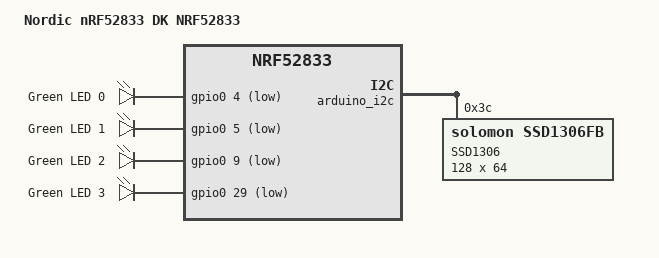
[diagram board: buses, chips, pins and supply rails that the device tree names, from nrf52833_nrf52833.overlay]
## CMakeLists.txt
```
cmake_minimum_required(VERSION 3.20.0)
find_package(Zephyr REQUIRED HINTS $ENV{ZEPHYR_BASE})

project(OLED_DISPLAY)

target_sources(app PRIVATE src/main.c)
```

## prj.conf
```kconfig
# Enable GPIO support
CONFIG_GPIO=y

# Memory and Stack Configuration
CONFIG_HEAP_MEM_POOL_SIZE=16384
CONFIG_MAIN_STACK_SIZE=4096

# Debugging and Assertions
CONFIG_DEBUG_OPTIMIZATIONS=y
CONFIG_ASSERT=y

# Enable I2C support
CONFIG_I2C=y

# Display Configuration
CONFIG_DISPLAY=y
CONFIG_DISPLAY_LOG_LEVEL_DBG=y

# Enable Logging
CONFIG_LOG=y

# SSD1306 OLED Display Driver
CONFIG_SSD1306=y
# CONFIG_SSD1306_SH1106_COMPATIBLE=n
CONFIG_SSD1306_DEFAULT_CONTRAST=128

# Console Configuration
CONFIG_CONSOLE=y
# Character Framebuffer
CONFIG_CHARACTER_FRAMEBUFFER=y
CONFIG_CFB_LOG_LEVEL_DBG=y
#CONFIG_SSD1306_SH1106_CAMPATIBLE=y  #ONLY ENABLE FOR 128 X 64 DISPLAY
```

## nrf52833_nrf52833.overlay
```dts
&arduino_i2c {
	status = "okay";
	compatible = "nordic,nrf-twi";

	ssd1306_ssd1306_128x64_I2C: ssd1306@3c {
		compatible = "solomon,ssd1306fb";
		reg = <0x3c>;
		label = "SSD1306";
		width = <128>;
		height = <64>;
		segment-offset = <0>;
		page-offset = <0>;
		display-offset = <0>;
		multiplex-ratio = <63>;
		segment-remap;
		com-invdir;
		prechargep = <0x22>;
	};
};

/* for node */

/ {
	model = "Nordic nRF52833 DK NRF52833";
    compatible = "nordic,nrf52833-dk-nrf52833";

	chosen {
		zephyr,console = &uart0;
		zephyr,shell-uart = &uart0;
		zephyr,uart-mcumgr = &uart0;
		zephyr,bt-mon-uart = &uart0;
		zephyr,bt-c2h-uart = &uart0;
		zephyr,sram = &sram0;
		zephyr,flash = &flash0;
		zephyr,code-partition = &slot0_partition;
	};

	leds {
		compatible = "gpio-leds";
		led0: led_0 {
			gpios = <&gpio0 4 GPIO_ACTIVE_LOW>;
			label = "Green LED 0";
		};
		led1: led_1 {
			gpios = <&gpio0 5 GPIO_ACTIVE_LOW>;
			label = "Green LED 1";
		};
		led2: led_2 {
			gpios = <&gpio0 9 GPIO_ACTIVE_LOW>;
			label = "Green LED 2";
		};
		led3: led_3 {
			gpios = <&gpio0 29 GPIO_ACTIVE_LOW>;
			label = "Green LED 3";
		};
	};
};
&pinctrl {
	uart0_default: uart0_default {
		group1 {
			psels = <NRF_PSEL(UART_TX, 0, 29)>, //6   for nrf52dk5832 / 5840
				<NRF_PSEL(UART_RX, 0, 28)>;   //8	  for nrf52dk5832
				
		};
	};

	uart0_sleep: uart0_sleep {
		group1 {
			psels = <NRF_PSEL(UART_TX, 0, 29)>,    //6
				<NRF_PSEL(UART_RX, 0, 28)>;        //8
				
			low-power-enable;
		};
	};
	i2c0_default: i2c0_default {
		group1 {
			psels = <NRF_PSEL(TWIM_SDA, 0, 2)>,  
				<NRF_PSEL(TWIM_SCL, 0, 3)>;      
		};
	};

	i2c0_sleep: i2c0_sleep {
		group1 {
			psels = <NRF_PSEL(TWIM_SDA, 0, 2)>,   
				<NRF_PSEL(TWIM_SCL, 0, 3)>;        
			low-power-enable;
		};
	};
};
```

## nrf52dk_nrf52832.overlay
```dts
&arduino_i2c {
	status = "okay";
	compatible = "nordic,nrf-twi";

	ssd1306_ssd1306_128x64_I2C: ssd1306@3c {
		compatible = "solomon,ssd1306fb";
		reg = <0x3c>;
		label = "SSD1306";
		width = <128>;
		height = <64>;
		segment-offset = <0>;
		page-offset = <0>;
		display-offset = <0>;
		multiplex-ratio = <63>;
		segment-remap;
		com-invdir;
		prechargep = <0x22>;
	};
};

/* For Node Configuration only*/
// &pinctrl {
// 	uart0_default: uart0_default {
// 		group1 {
// 			psels = <NRF_PSEL(UART_TX, 0, 24)>, //6   for nrf52dk5832 / 5840
// 				<NRF_PSEL(UART_RX, 0, 23)>,   //8	  for nrf52dk5832
// 				<NRF_PSEL(UART_RTS, 0, 5)>,
// 				<NRF_PSEL(UART_CTS, 0, 7)>;
// 		};
// 	};

// 	uart0_sleep: uart0_sleep {
// 		group1 {
// 			psels = <NRF_PSEL(UART_TX, 0, 24)>,    //6
// 				<NRF_PSEL(UART_RX, 0, 23)>,        //8
// 				<NRF_PSEL(UART_RTS, 0, 5)>,
// 				<NRF_PSEL(UART_CTS, 0, 7)>;
// 			low-power-enable;
// 		};
// 	};
// 	i2c0_default: i2c0_default {
// 		group1 {
// 			psels = <NRF_PSEL(TWIM_SDA, 0, 26)>,  
// 				<NRF_PSEL(TWIM_SCL, 0, 25)>;      
// 		};
// 	};

// 	i2c0_sleep: i2c0_sleep {
// 		group1 {
// 			psels = <NRF_PSEL(TWIM_SDA, 0, 26)>,   
// 				<NRF_PSEL(TWIM_SCL, 0, 25)>;        
// 			low-power-enable;
// 		};
// 	};

// };
```

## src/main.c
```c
/* Hello World */

#include <zephyr/kernel.h>
#include <zephyr/device.h>
#include <zephyr/drivers/display.h>
#include <zephyr/display/cfb.h>
#include <stdio.h>

/* Global variable for the text to be displayed */
const char *displayText = "AWaDH";

void main(void)
{
    const struct device *dev = device_get_binding("SSD1306");

    if (!dev)
    {
        printk("OLED Display: Device not found\n");
        return;
    }

    if (display_set_pixel_format(dev, PIXEL_FORMAT_MONO10) != 0 || cfb_framebuffer_init(dev) != 0)
    {
        printk("OLED Display: Initialization failed\n");
        return;
    }

    cfb_framebuffer_clear(dev, true);
    cfb_framebuffer_invert(dev);
    display_blanking_off(dev);

    uint8_t fontWidth, fontHeight;
    cfb_get_font_size(dev, 0, &fontWidth, &fontHeight);

    uint16_t start_x = (cfb_get_display_parameter(dev, CFB_DISPLAY_WIDTH) - strlen(displayText) * fontWidth) / 2;
    uint16_t start_y = (cfb_get_display_parameter(dev, CFB_DISPLAY_HEIGH) - fontHeight) / 2;

    if (cfb_print(dev, displayText, start_x, start_y))
    {
        printk("OLED Display: Failed to print string\n");
        return;
    }

    cfb_framebuffer_finalize(dev);
}
```
